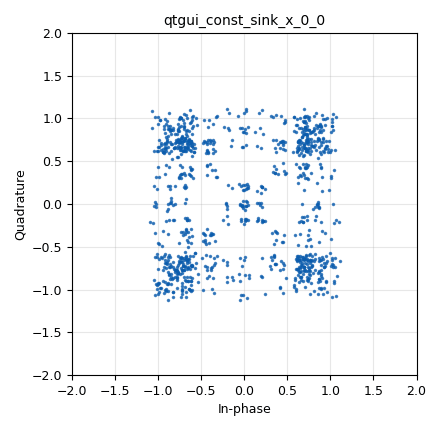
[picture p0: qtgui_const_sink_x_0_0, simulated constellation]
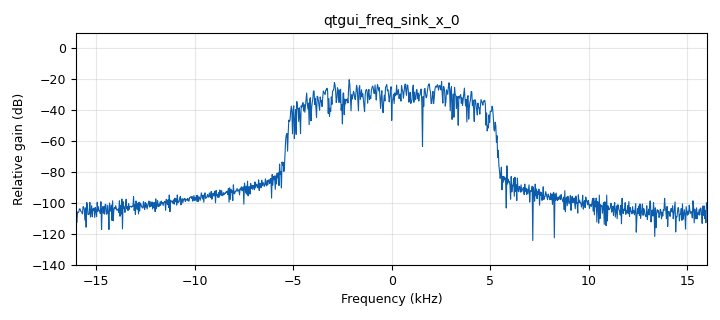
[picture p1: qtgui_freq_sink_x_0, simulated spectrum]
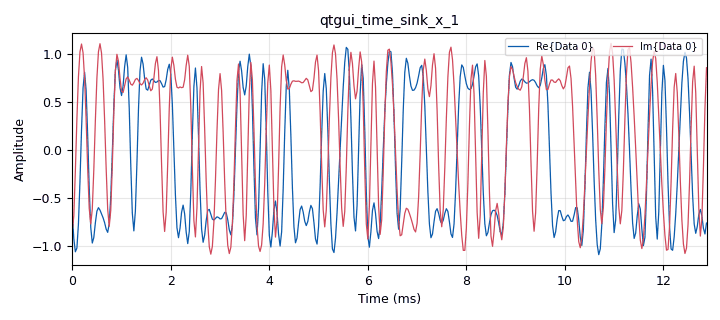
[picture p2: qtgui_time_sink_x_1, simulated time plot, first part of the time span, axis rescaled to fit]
<?xml version='1.0' encoding='utf-8'?>
<?grc format='1' created='3.7.9'?>
<flow_graph>
<block>
<key>options</key>
<param><key>id</key><value>top_block</value></param>
<param><key>category</key><value>Custom</value></param>
<param><key>generate_options</key><value>qt_gui</value></param>
<param><key>qt_qss_theme</key><value>share/gnuradio/examples/qt-gui/dark.qss</value></param>
</block>
<block>
<key>variable_constellation</key>
<param><key>id</key><value>QPSK</value></param>
<param><key>const_points</key><value>[-1-1j, -1+1j, 1+1j, 1-1j]</value></param>
<param><key>dims</key><value>1</value></param>
<param><key>rot_sym</key><value>4</value></param>
<param><key>precision</key><value>8</value></param>
<param><key>sym_map</key><value>[0, 1, 3, 2]</value></param>
</block>
<block>
<key>variable</key>
<param><key>id</key><value>const_points</value></param>
<param><key>value</key><value>256</value></param>
</block>
<block>
<key>variable</key>
<param><key>id</key><value>excess_bw</value></param>
<param><key>value</key><value>0.35</value></param>
</block>
<block>
<key>variable_qtgui_range</key>
<param><key>id</key><value>freq_off</value></param>
<param><key>value</key><value>0</value></param>
<param><key>orient</key><value>Qt.Horizontal</value></param>
<param><key>start</key><value>-0.1</value></param>
<param><key>step</key><value>0.001</value></param>
<param><key>stop</key><value>0.1</value></param>
</block>
<block>
<key>variable_qtgui_range</key>
<param><key>id</key><value>noise_volt</value></param>
<param><key>value</key><value>100e-6</value></param>
<param><key>orient</key><value>Qt.Horizontal</value></param>
<param><key>start</key><value>0</value></param>
<param><key>step</key><value>0.01</value></param>
<param><key>stop</key><value>1</value></param>
</block>
<block>
<key>variable</key>
<param><key>id</key><value>samp_rate</value></param>
<param><key>value</key><value>32e3</value></param>
</block>
<block>
<key>variable</key>
<param><key>id</key><value>sps</value></param>
<param><key>value</key><value>4</value></param>
</block>
<block>
<key>variable</key>
<param><key>id</key><value>taps</value></param>
<param><key>value</key><value>1</value></param>
</block>
<block>
<key>variable_qtgui_range</key>
<param><key>id</key><value>time_off</value></param>
<param><key>value</key><value>1</value></param>
<param><key>orient</key><value>Qt.Horizontal</value></param>
<param><key>start</key><value>0.999</value></param>
<param><key>step</key><value>100e-6</value></param>
<param><key>stop</key><value>1.001</value></param>
</block>
<block>
<key>analog_random_source_x</key>
<param><key>id</key><value>analog_random_source_x_0</value></param>
<param><key>max</key><value>const_points</value></param>
<param><key>min</key><value>0</value></param>
<param><key>num_samps</key><value>100</value></param>
<param><key>type</key><value>byte</value></param>
<param><key>repeat</key><value>True</value></param>
</block>
<block>
<key>blocks_throttle</key>
<param><key>id</key><value>blocks_throttle_0</value></param>
<param><key>_enabled</key><value>0</value></param>
<param><key>samples_per_second</key><value>samp_rate</value></param>
<param><key>type</key><value>byte</value></param>
</block>
<block>
<key>blocks_throttle</key>
<param><key>id</key><value>blocks_throttle_0_0</value></param>
<param><key>samples_per_second</key><value>samp_rate</value></param>
<param><key>type</key><value>complex</value></param>
</block>
<block>
<key>blocks_uchar_to_float</key>
<param><key>id</key><value>blocks_uchar_to_float_0</value></param>
<param><key>_enabled</key><value>0</value></param>
</block>
<block>
<key>channels_channel_model</key>
<param><key>id</key><value>channels_channel_model_0</value></param>
<param><key>_enabled</key><value>0</value></param>
<param><key>epsilon</key><value>time_off</value></param>
<param><key>freq_offset</key><value>freq_off</value></param>
<param><key>noise_voltage</key><value>noise_volt</value></param>
<param><key>seed</key><value>0</value></param>
<param><key>taps</key><value>1.0 + 1.0j</value></param>
</block>
<block>
<key>digital_constellation_modulator</key>
<param><key>id</key><value>const</value></param>
<param><key>constellation</key><value>QPSK</value></param>
<param><key>differential</key><value>True</value></param>
<param><key>excess_bw</key><value>excess_bw</value></param>
<param><key>samples_per_symbol</key><value>sps</value></param>
</block>
<block>
<key>qtgui_const_sink_x</key>
<param><key>id</key><value>qtgui_const_sink_x_0</value></param>
<param><key>_enabled</key><value>0</value></param>
<param><key>gui_hint</key><value>0,1</value></param>
<param><key>color1</key><value>"green"</value></param>
<param><key>marker1</key><value>1</value></param>
<param><key>size</key><value>1024</value></param>
<param><key>type</key><value>complex</value></param>
</block>
<block>
<key>qtgui_const_sink_x</key>
<param><key>id</key><value>qtgui_const_sink_x_0_0</value></param>
<param><key>alias</key><value>dots</value></param>
<param><key>gui_hint</key><value>0,1</value></param>
<param><key>color1</key><value>"red"</value></param>
<param><key>size</key><value>1024</value></param>
<param><key>type</key><value>complex</value></param>
</block>
<block>
<key>qtgui_freq_sink_x</key>
<param><key>id</key><value>qtgui_freq_sink_x_0</value></param>
<param><key>bw</key><value>samp_rate</value></param>
<param><key>fc</key><value>0</value></param>
<param><key>fftsize</key><value>1024</value></param>
<param><key>showports</key><value>True</value></param>
<param><key>type</key><value>complex</value></param>
<param><key>wintype</key><value>firdes.WIN_HAMMING</value></param>
</block>
<block>
<key>qtgui_freq_sink_x</key>
<param><key>id</key><value>qtgui_freq_sink_x_1</value></param>
<param><key>bw</key><value>samp_rate</value></param>
<param><key>fc</key><value>0</value></param>
<param><key>_enabled</key><value>0</value></param>
<param><key>fftsize</key><value>1024</value></param>
<param><key>gui_hint</key><value>0,0</value></param>
<param><key>showports</key><value>True</value></param>
<param><key>type</key><value>complex</value></param>
<param><key>wintype</key><value>firdes.WIN_BLACKMAN_hARRIS</value></param>
</block>
<block>
<key>qtgui_histogram_sink_x</key>
<param><key>id</key><value>qtgui_histogram_sink_x_0</value></param>
<param><key>_enabled</key><value>0</value></param>
<param><key>xmax</key><value>256</value></param>
<param><key>xmin</key><value>0</value></param>
<param><key>bins</key><value>256</value></param>
<param><key>size</key><value>100</value></param>
<param><key>type</key><value>float</value></param>
</block>
<block>
<key>qtgui_time_sink_x</key>
<param><key>id</key><value>qtgui_time_sink_x_0</value></param>
<param><key>autoscale</key><value>True</value></param>
<param><key>_enabled</key><value>0</value></param>
<param><key>color1</key><value>"blue"</value></param>
<param><key>label1</key><value></value></param>
<param><key>size</key><value>1024</value></param>
<param><key>srate</key><value>samp_rate</value></param>
<param><key>type</key><value>float</value></param>
</block>
<block>
<key>qtgui_time_sink_x</key>
<param><key>id</key><value>qtgui_time_sink_x_1</value></param>
<param><key>gui_hint</key><value>0,0</value></param>
<param><key>color1</key><value>"blue"</value></param>
<param><key>label1</key><value></value></param>
<param><key>style1</key><value>3</value></param>
<param><key>color2</key><value>"red"</value></param>
<param><key>label2</key><value></value></param>
<param><key>style2</key><value>3</value></param>
<param><key>size</key><value>1024</value></param>
<param><key>srate</key><value>samp_rate</value></param>
<param><key>type</key><value>complex</value></param>
</block>
<connection><source_block_id>analog_random_source_x_0</source_block_id><sink_block_id>blocks_throttle_0</sink_block_id><source_key>0</source_key><sink_key>0</sink_key></connection>
<connection><source_block_id>analog_random_source_x_0</source_block_id><sink_block_id>const</sink_block_id><source_key>0</source_key><sink_key>0</sink_key></connection>
<connection><source_block_id>blocks_throttle_0</source_block_id><sink_block_id>blocks_uchar_to_float_0</sink_block_id><source_key>0</source_key><sink_key>0</sink_key></connection>
<connection><source_block_id>blocks_throttle_0_0</source_block_id><sink_block_id>channels_channel_model_0</sink_block_id><source_key>0</source_key><sink_key>0</sink_key></connection>
<connection><source_block_id>blocks_throttle_0_0</source_block_id><sink_block_id>qtgui_const_sink_x_0</sink_block_id><source_key>0</source_key><sink_key>0</sink_key></connection>
<connection><source_block_id>blocks_throttle_0_0</source_block_id><sink_block_id>qtgui_const_sink_x_0_0</sink_block_id><source_key>0</source_key><sink_key>0</sink_key></connection>
<connection><source_block_id>blocks_throttle_0_0</source_block_id><sink_block_id>qtgui_freq_sink_x_0</sink_block_id><source_key>0</source_key><sink_key>0</sink_key></connection>
<connection><source_block_id>blocks_throttle_0_0</source_block_id><sink_block_id>qtgui_freq_sink_x_1</sink_block_id><source_key>0</source_key><sink_key>0</sink_key></connection>
<connection><source_block_id>blocks_throttle_0_0</source_block_id><sink_block_id>qtgui_time_sink_x_1</sink_block_id><source_key>0</source_key><sink_key>0</sink_key></connection>
<connection><source_block_id>blocks_uchar_to_float_0</source_block_id><sink_block_id>qtgui_histogram_sink_x_0</sink_block_id><source_key>0</source_key><sink_key>0</sink_key></connection>
<connection><source_block_id>blocks_uchar_to_float_0</source_block_id><sink_block_id>qtgui_time_sink_x_0</sink_block_id><source_key>0</source_key><sink_key>0</sink_key></connection>
<connection><source_block_id>channels_channel_model_0</source_block_id><sink_block_id>qtgui_const_sink_x_0_0</sink_block_id><source_key>0</source_key><sink_key>0</sink_key></connection>
<connection><source_block_id>channels_channel_model_0</source_block_id><sink_block_id>qtgui_freq_sink_x_0</sink_block_id><source_key>0</source_key><sink_key>0</sink_key></connection>
<connection><source_block_id>channels_channel_model_0</source_block_id><sink_block_id>qtgui_time_sink_x_1</sink_block_id><source_key>0</source_key><sink_key>0</sink_key></connection>
<connection><source_block_id>const</source_block_id><sink_block_id>blocks_throttle_0_0</sink_block_id><source_key>0</source_key><sink_key>0</sink_key></connection>
</flow_graph>
